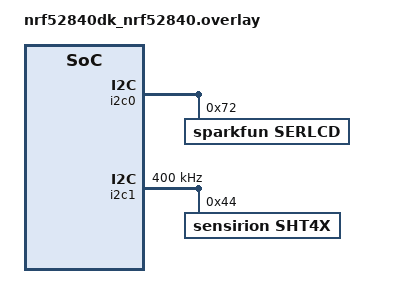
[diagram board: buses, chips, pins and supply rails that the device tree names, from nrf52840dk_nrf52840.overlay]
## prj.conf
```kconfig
CONFIG_I2C=y
CONFIG_CRC=y
CONFIG_AUXDISPLAY=y
CONFIG_AUXDISPLAY_AC780S=y
CONFIG_SENSOR=y
CONFIG_SHT4X=y
CONFIG_BT=y
CONFIG_BT_DEVICE_NAME="nrf52840"
CONFIG_BT_PERIPHERAL=y
```

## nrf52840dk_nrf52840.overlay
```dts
&i2c0 {
	status = "okay";

    serlcd@72 {
	    compatible = "sparkfun,serlcd";
	    reg = <0x72>;
	    columns = <16>;
	    rows = <2>;
	    command-delay-ms = <10>;
	    special-command-delay-ms = <50>;
	};
	
    //ac780s@3c {
	//	status = "okay";
	//	compatible = "ac780s";
	//	reg = <0x3C>;
	//	columns = <8>;
	//	rows = <2>;
	//};
};

&i2c1 {
	status = "okay";
	clock-frequency = <I2C_BITRATE_FAST>;
    
	sht4x@44 {
		status = "okay";
		compatible = "sensirion,sht4x";
		reg = <0x44>;
		repeatability = <2>;
	};
};

&pinctrl {
	i2c0_default: i2c0_default{
		group1 {
			psels = <NRF_PSEL(TWIM_SDA, 0, 26)>,
				<NRF_PSEL(TWIM_SCL, 0, 27)>;
			bias-pull-up;
		};
	};

	i2c0_sleep: i2c0_sleep{
		group1 {
			psels = <NRF_PSEL(TWIM_SDA, 0, 26)>,
				<NRF_PSEL(TWIM_SCL, 0, 27)>;
			low-power-enable;
		};
	};

};
```

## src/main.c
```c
#include <zephyr/kernel.h>

#include <zephyr/device.h>
#include <zephyr/drivers/sensor.h>
#include <zephyr/drivers/auxdisplay.h>
#include <stdio.h>
#include <zephyr/bluetooth/bluetooth.h>
#include <zephyr/bluetooth/hci.h>
#include <zephyr/bluetooth/conn.h>
#include <zephyr/bluetooth/uuid.h>
#include <zephyr/bluetooth/gatt.h>

#include <zephyr/drivers/sensor/sht4x.h>

//const static struct device *i2c0_disp = DEVICE_DT_GET(DT_CHILD(DT_NODELABEL(i2c0), ac780s_3c));
//const static struct device *i2c0_disp = DEVICE_DT_GET(DT_CHILD(DT_NODELABEL(i2c0), serlcd_72));
const static struct device *i2c1_therm = DEVICE_DT_GET(DT_CHILD(DT_NODELABEL(i2c1), sht4x_44));

// define custom service UUID --> this is just something random I came up with, there are standard
// UUIDs for generic thermometers so a more refined version should use that
#define BT_UUID_CUSTOM_SERVICE_VAL \
    BT_UUID_128_ENCODE(0x90019001, 0x9001, 0x9001, 0x9001, 0x900190019001)

// init struct to hold custom uuid in little endian format
static const struct bt_uuid_128 custom_uuid = BT_UUID_INIT_128(
	BT_UUID_CUSTOM_SERVICE_VAL);

// custom UUID for temperature characteristic
static const struct bt_uuid_128 temp_uuid = BT_UUID_INIT_128(
	BT_UUID_128_ENCODE(0x90019001, 0xFFFF, 0xFFFF, 0xFFFF, 0x900190019001));

// custom UUID for humidity characteristic
static const struct bt_uuid_128 hum_uuid = BT_UUID_INIT_128(
	BT_UUID_128_ENCODE(0x90019001, 0x0000, 0x0000, 0x0000, 0x900190019001));

// values for each thing to transmit (temperature and humidity)
// these don't have to be arrays, just a uint would be fine you would just need to pass
// a pointer pointing to the uint when calling bt_gatt_attr_read
// keeping these as arrays also allows for easier extension... probably will put
// sensor val1 in index 0, sensor val2 in index 1
static uint8_t temp_value[1] = {66};
static uint8_t hum_value[1] = {77};

// functions to read temp and hum values over ble
static ssize_t read_temp(struct bt_conn *conn, const struct bt_gatt_attr *attr, 
    void *buf, uint16_t len, uint16_t offset) {
    // conn = ble connection object(?)
    // attr = attribute to read (temp or hum characteristic)
    // buf = buffer to store the value(s) (this is created by the gatt API)
    // len = length of the buffer (also handled by gatt API)
    // offset = offset within gatt buffer (or attribute value?) to start from
    // temp_value = pointer to value to send over BLE
    // 1 --> value_len = num bytes to read
    return bt_gatt_attr_read(conn, attr, buf, len, offset, temp_value, 1);
}

static ssize_t read_hum(struct bt_conn *conn, const struct bt_gatt_attr *attr, 
    void *buf, uint16_t len, uint16_t offset) {
    
    return bt_gatt_attr_read(conn, attr, buf, len, offset, hum_value, 1);
}

// declare a custom service for temp and hum
BT_GATT_SERVICE_DEFINE(temp_svc,
	BT_GATT_PRIMARY_SERVICE(&custom_uuid),      // say it's the primary service of the device
	BT_GATT_CHARACTERISTIC(
        &temp_uuid.uuid,            // give it a characteristic
		BT_GATT_CHRC_READ,              // with read property
		BT_GATT_PERM_READ,              // with attribute read permission
		read_temp,                      // read callback function
        NULL,                           // write callback function
        temp_value                      // value for the characteristic
    ),
    BT_GATT_CHARACTERISTIC(
        &hum_uuid.uuid,
        BT_GATT_CHRC_READ,
        BT_GATT_PERM_READ,
        read_hum,
        NULL,
        hum_value
    )
);

// data packet struct for advertising
// not all attributes need to be listed here to appear in the attribute table
// removing things from here will remove avertised characteristics
// need to figure out what the data flags, ad general, no bredr line does...
static const struct bt_data ad[] = {
	BT_DATA_BYTES(BT_DATA_FLAGS, (BT_LE_AD_GENERAL | BT_LE_AD_NO_BREDR)),
	BT_DATA_BYTES(BT_DATA_UUID128_ALL, BT_UUID_CUSTOM_SERVICE_VAL),
};

// function to call to start advertising, most examples had it passed to 
// ble_enable as an argument, then ble_enabled it, but that doesn't seem
// to be required
static void bt_ready() {

    int err = 0;

    printk("BLE init'ed\n");

    // start advertising BLE
    // BT_LE_ADV_CONN_FAST_1 --> bt_le_adv_param, struct to represent how to advertise,
    //      it seems complicated and I don't fully understand it but BT_LE_ADV_CONN_FAST_1
    //      is the default/reccomended for advertising as a peripheral
    // ad = struct of data to send out in advertising packets
    // ARRAY_SIZE(ad) = number of elements in ad, ARRAY_SIZE is a zephyr macro
    // NULL --> sd = struct of data to send out in scan response packets
    // 0 --> ARRAY_SIZE(sd) = number of elements in sd
    err = bt_le_adv_start(
        BT_LE_ADV_CONN_FAST_1,
        ad,
        ARRAY_SIZE(ad),
        NULL,
        0
    );

    if (err) {
        printk("Failed to start: err = [%d]\n", err);
        return;
    }

    printk("Success I think!\n");
}

// get a measurement from the SHT41, store in temp and hum structs
int getMeasurement(struct sensor_value* temp, struct sensor_value* hum) {
    int err = 0;

    if (sensor_sample_fetch(i2c1_therm)) {
        printf("sample fetch failed :(\n");
        return 0;
    }

    err = sensor_channel_get(i2c1_therm, SENSOR_CHAN_AMBIENT_TEMP, temp);
    if (err) {
        printk("Err [%d] in sht41\n", err);
    }
    err = sensor_channel_get(i2c1_therm, SENSOR_CHAN_HUMIDITY, hum);
    if (err) {
        printk("Err [%d] in sht41\n", err);
    }

    printf("SHT4X: %02d Temp. [C] ; %02d RH [%%]\n",
        temp->val1,
        hum->val1
    );

    return err;
}

int main(void) {

    //if (!device_is_ready(i2c0_disp)) {
	//	printf("i2c1 not ready :(\n");
	//	return 0;
	//}
    if (!device_is_ready(i2c1_therm)) {
		printf("i2c1 not ready :(\n");
		return 0;
	}

    struct sensor_value temp, hum;

    int err = 0;

    err = getMeasurement(&temp, &hum);
    if (err) {
        printk("Error getting measurement: err = [%d]\n", err);
        return -1;
    }

    err = bt_enable(NULL);
    if (err) {
        printk("BLE init failed :( err = [%d]\n", err);
    }

    // returns void, cannot error check... unless used global variable?
    bt_ready();

    while (1) {
        
        err = getMeasurement(&temp, &hum);
        if (err) {
            printk("Error getting measurement: err = [%d]\n", err);
            return -1;
        }

        temp_value[0] = temp.val1;
        hum_value[0] = hum.val1;


        k_msleep(1111);
    }


    return 0;
}
```
